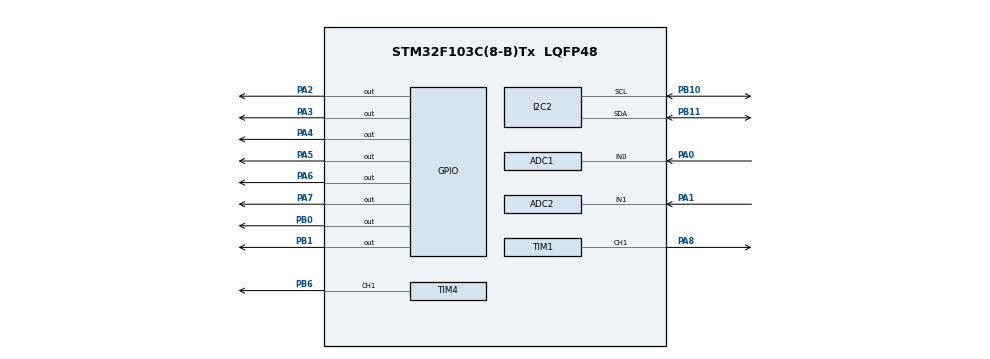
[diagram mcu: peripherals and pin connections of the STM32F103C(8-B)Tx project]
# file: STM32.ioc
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ADC1.Channel-0\#ChannelRegularConversion=ADC_CHANNEL_0
ADC1.ContinuousConvMode=DISABLE
ADC1.NbrOfConversionFlag=1
ADC1.Rank-0\#ChannelRegularConversion=1
ADC1.SamplingTime-0\#ChannelRegularConversion=ADC_SAMPLETIME_55CYCLES_5
ADC1.master=1
ADC2.Channel-0\#ChannelRegularConversion=ADC_CHANNEL_1
ADC2.NbrOfConversionFlag=1
ADC2.Rank-0\#ChannelRegularConversion=1
ADC2.SamplingTime-0\#ChannelRegularConversion=ADC_SAMPLETIME_55CYCLES_5
I2C2.I2C_Mode=I2C_Fast
I2C2.OwnAddress=0x37
Mcu.Family=STM32F1
Mcu.Name=STM32F103C(8-B)Tx
Mcu.Package=LQFP48
NVIC.ADC1_2_IRQn=true\:1\:0\:true\:false\:true\:true\:true\:true
NVIC.I2C2_ER_IRQn=true\:0\:0\:false\:false\:true\:true\:true\:true
NVIC.I2C2_EV_IRQn=true\:0\:0\:false\:false\:true\:true\:true\:true
NVIC.PriorityGroup=NVIC_PRIORITYGROUP_4
PA0-WKUP.Signal=ADCx_IN0
PA1.Signal=ADCx_IN1
PA13.Mode=Serial_Wire
PA13.Signal=SYS_JTMS-SWDIO
PA14.Mode=Serial_Wire
PA14.Signal=SYS_JTCK-SWCLK
PA2.Signal=GPIO_Output
PA3.Signal=GPIO_Output
PA4.Signal=GPIO_Output
PA5.Signal=GPIO_Output
PA6.Signal=GPIO_Output
PA7.Signal=GPIO_Output
PA8.GPIO_ModeDefaultPP=GPIO_MODE_AF_OD
PA8.GPIO_Speed=GPIO_SPEED_FREQ_LOW
PA8.Signal=S_TIM1_CH1
PB0.Signal=GPIO_Output
PB1.Signal=GPIO_Output
PB10.Mode=I2C
PB10.Signal=I2C2_SCL
PB11.Mode=I2C
PB11.Signal=I2C2_SDA
PB6.Signal=S_TIM4_CH1
ProjectManager.HeapSize=0x200
ProjectManager.StackSize=0x400
ProjectManager.TargetToolchain=STM32CubeIDE
RCC.APB1Freq_Value=8000000
RCC.APB2Freq_Value=8000000
SH.ADCx_IN0.0=ADC1_IN0,IN0
SH.ADCx_IN1.0=ADC2_IN1,IN1
SH.S_TIM1_CH1.0=TIM1_CH1,PWM Generation1 CH1
SH.S_TIM4_CH1.0=TIM4_CH1,PWM Generation1 CH1
TIM1.Channel-PWM\ Generation1\ CH1=TIM_CHANNEL_1
TIM1.OCMode_PWM-PWM\ Generation1\ CH1=TIM_OCMODE_PWM2
TIM1.OCPolarity_1=TIM_OCPOLARITY_LOW
TIM1.Period=20000
TIM1.Prescaler=7
TIM1.Pulse-PWM\ Generation1\ CH1=1
TIM2.Prescaler=7
TIM4.Channel-PWM\ Generation1\ CH1=TIM_CHANNEL_1
TIM4.Period=79
TIM4.Pulse-PWM\ Generation1\ CH1=40
VP_TIM1_VS_ClockSourceINT.Mode=Internal
VP_TIM1_VS_OPM.Mode=OPM_bit
VP_TIM2_VS_ClockSourceINT.Mode=Internal
board=custom

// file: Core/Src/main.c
/* USER CODE BEGIN Header */
/**
 ******************************************************************************
 * @file           : main.c
 * @brief          : Main program body
 ******************************************************************************
 * @attention
 *
 * Copyright (c) 2026 STMicroelectronics.
 * All rights reserved.
 *
 * This software is licensed under terms that can be found in the LICENSE file
 * in the root directory of this software component.
 * If no LICENSE file comes with this software, it is provided AS-IS.
 *
 ******************************************************************************
 */
/* USER CODE END Header */
#include "main.h"

/* USER CODE BEGIN Includes */
#include "pcb_sensor_layout.h"
#include <stdbool.h>
#include <string.h>

/* USER CODE END Includes */

/* USER CODE BEGIN PTD */
typedef enum { KICK_READY, KICK_PULSING, KICK_COOLDOWN } KickState;

/* USER CODE END PTD */

/* USER CODE BEGIN PD */
#define KICK_COOLDOWN_MS 500U

/* USER CODE END PD */

ADC_HandleTypeDef hadc1;
ADC_HandleTypeDef hadc2;

I2C_HandleTypeDef hi2c2;

TIM_HandleTypeDef htim1;
TIM_HandleTypeDef htim2;
TIM_HandleTypeDef htim4;

/* USER CODE BEGIN PV */
uint8_t brightness = 50;
uint8_t RxData = 0x00;
uint8_t TxData[PCB_SENSOR_COUNT] = {0x00};
/* ADC fills one buffer while the other holds the last complete scan. */
static uint8_t scan_buffers[2][PCB_SENSOR_COUNT] = {{0}};
static uint32_t working_scan_index = 1U;
static volatile uint32_t published_scan_index = 0U;
uint8_t multiplexer1 = PCB_SENSOR_MUX1_FIRST_PIN;
uint8_t multiplexer2 = PCB_SENSOR_MUX2_FIRST_PIN;
volatile bool multiplexer1_ready = true;
volatile bool multiplexer2_ready = true;
static volatile uint16_t last_multiplexer_us;
/* Shared between the main loop and the I2C interrupt. */
static volatile KickState kick_state = KICK_READY;
static uint32_t kick_finished_tick;
/* USER CODE END PV */

void SystemClock_Config(void);
static void MX_GPIO_Init(void);
static void MX_ADC1_Init(void);
static void MX_ADC2_Init(void);
static void MX_TIM1_Init(void);
static void MX_TIM4_Init(void);
static void MX_I2C2_Init(void);
static void MX_TIM2_Init(void);

/* USER CODE BEGIN 0 */
static void select_multiplexer1(void) {
  HAL_GPIO_WritePin(GPIOA, GPIO_PIN_2, (multiplexer1 & 1U) ? GPIO_PIN_SET : GPIO_PIN_RESET);
  HAL_GPIO_WritePin(GPIOA, GPIO_PIN_3, (multiplexer1 & 2U) ? GPIO_PIN_SET : GPIO_PIN_RESET);
  HAL_GPIO_WritePin(GPIOA, GPIO_PIN_4, (multiplexer1 & 4U) ? GPIO_PIN_SET : GPIO_PIN_RESET);
  HAL_GPIO_WritePin(GPIOA, GPIO_PIN_5, (multiplexer1 & 8U) ? GPIO_PIN_SET : GPIO_PIN_RESET);
}

static void select_multiplexer2(void) {
  HAL_GPIO_WritePin(GPIOA, GPIO_PIN_6, (multiplexer2 & 1U) ? GPIO_PIN_SET : GPIO_PIN_RESET);
  HAL_GPIO_WritePin(GPIOA, GPIO_PIN_7, (multiplexer2 & 2U) ? GPIO_PIN_SET : GPIO_PIN_RESET);
  HAL_GPIO_WritePin(GPIOB, GPIO_PIN_0, (multiplexer2 & 4U) ? GPIO_PIN_SET : GPIO_PIN_RESET);
  HAL_GPIO_WritePin(GPIOB, GPIO_PIN_1, (multiplexer2 & 8U) ? GPIO_PIN_SET : GPIO_PIN_RESET);
}

static void service_kick_cooldown(void) {
  if (kick_state == KICK_PULSING && (TIM1->CR1 & TIM_CR1_CEN) == 0U) {
    /* One-pulse mode has finished and released PA8. A delayed loop only
       lengthens the cooldown; never measure it from the pulse start. */
    kick_finished_tick = HAL_GetTick();
    kick_state = KICK_COOLDOWN;
  } else if (kick_state == KICK_COOLDOWN && (uint32_t)(HAL_GetTick() - kick_finished_tick) > KICK_COOLDOWN_MS) {
    /* Wait past 500 ticks so tick rounding cannot shorten the 500 ms gap.
       Unsigned subtraction also handles the HAL tick counter wrapping. */
    kick_state = KICK_READY;
  }
}

void HAL_I2C_ListenCpltCallback(I2C_HandleTypeDef *hi2c) {
  if (hi2c->Instance == I2C2) {
    HAL_I2C_EnableListen_IT(&hi2c2);
  }
}

void HAL_I2C_AddrCallback(I2C_HandleTypeDef *hi2c, uint8_t TransferDirection, uint16_t AddrMatchCode) {
  if (hi2c->Instance == I2C2) {
    if (TransferDirection == I2C_DIRECTION_TRANSMIT) {
      HAL_I2C_Slave_Seq_Receive_IT(&hi2c2, &RxData, 1, I2C_FIRST_AND_LAST_FRAME);
    } else {
      /* ADC must have equal or lower preemption priority than I2C.
         Snapshot into TxData before ADC can reuse either scan buffer. */
      uint32_t scan_index = published_scan_index;
      __DMB();
      memcpy(TxData, scan_buffers[scan_index], sizeof(TxData));
      HAL_I2C_Slave_Seq_Transmit_IT(&hi2c2, TxData, sizeof(TxData), I2C_FIRST_AND_LAST_FRAME);
    }
  }
}

void HAL_I2C_SlaveRxCpltCallback(I2C_HandleTypeDef *hi2c) {
  if (hi2c->Instance == I2C2) {
    if (RxData == 0xFF) {
      if (kick_state == KICK_READY && (TIM1->CR1 & TIM_CR1_CEN) == 0U) {
        kick_state = KICK_PULSING;
        __HAL_TIM_SET_COUNTER(&htim1, 1);
        __HAL_TIM_ENABLE(&htim1);
      }
    } else {
      brightness = RxData;
      TIM4->CCR1 = (80U * brightness) / 254U;
    }
  }
}

void HAL_ADC_ConvCpltCallback(ADC_HandleTypeDef *hadc) {
  if (hadc->Instance == ADC1) {
    uint32_t raw = HAL_ADC_GetValue(hadc);
    uint8_t value = (uint8_t)((raw * 255U + 2047U) / 4095U);
    scan_buffers[working_scan_index][pcb_sensor_index(1U, multiplexer1)] = value;
    multiplexer1 = (uint8_t)pcb_sensor_next_pin(1U, multiplexer1);
    select_multiplexer1();
    multiplexer1_ready = true;
  } else if (hadc->Instance == ADC2) {
    uint32_t raw = HAL_ADC_GetValue(&hadc2);
    uint8_t value = (uint8_t)((raw * 255U + 2047U) / 4095U);
    scan_buffers[working_scan_index][pcb_sensor_index(2U, multiplexer2)] = value;
    multiplexer2 = (uint8_t)pcb_sensor_next_pin(2U, multiplexer2);
    select_multiplexer2();
    multiplexer2_ready = true;
  }
  if (multiplexer1_ready && multiplexer2_ready) {
    if (multiplexer1 == PCB_SENSOR_MUX1_FIRST_PIN && multiplexer2 == PCB_SENSOR_MUX2_FIRST_PIN) {
      __DMB();
      published_scan_index = working_scan_index;
      working_scan_index ^= 1U;
    }
    last_multiplexer_us = (uint16_t)__HAL_TIM_GET_COUNTER(&htim2);
  }
}

/* USER CODE END 0 */

int main(void)
{

  /* MCU Configuration--------------------------------------------------------*/

  /* Reset of all peripherals, Initializes the Flash interface and the Systick. */
  HAL_Init();

  /* Configure the system clock */
  SystemClock_Config();

  /* Initialize all configured peripherals */
  MX_GPIO_Init();
  MX_ADC1_Init();
  MX_ADC2_Init();
  MX_TIM1_Init();
  MX_TIM4_Init();
  MX_I2C2_Init();
  MX_TIM2_Init();
  /* USER CODE BEGIN 2 */
  select_multiplexer1();
  select_multiplexer2();
  __HAL_TIM_SET_COUNTER(&htim1, 0);
  SET_BIT(TIM1->CCER, TIM_CCER_CC1E);
  __HAL_TIM_MOE_ENABLE(&htim1);
  HAL_I2C_EnableListen_IT(&hi2c2);
  HAL_TIM_PWM_Start(&htim4, TIM_CHANNEL_1);

  if (HAL_ADCEx_Calibration_Start(&hadc1) != HAL_OK) {
    Error_Handler();
  }
  if (HAL_ADCEx_Calibration_Start(&hadc2) != HAL_OK) {
    Error_Handler();
  }
  if (HAL_TIM_Base_Start(&htim2) != HAL_OK) {
    Error_Handler();
  }

  /* USER CODE END 2 */

  /* Infinite loop */
  /* USER CODE BEGIN WHILE */
  while (1) {
    service_kick_cooldown();
    if (multiplexer1_ready && multiplexer2_ready) {
      uint16_t now = (uint16_t)__HAL_TIM_GET_COUNTER(&htim2);
      uint16_t elapsed = (uint16_t)(now - last_multiplexer_us);
      // Wait 100 us after switching multiplexer before reading ADC
      if (elapsed > 100U) {
        multiplexer1_ready = false;
        multiplexer2_ready = false;
        if (HAL_ADC_Start_IT(&hadc1) != HAL_OK) {
          Error_Handler();
        }
        if (HAL_ADC_Start_IT(&hadc2) != HAL_OK) {
          Error_Handler();
        }
      }
    }
    /* USER CODE END WHILE */

  }
}

void SystemClock_Config(void)
{
  RCC_OscInitTypeDef RCC_OscInitStruct = {0};
  RCC_ClkInitTypeDef RCC_ClkInitStruct = {0};
  RCC_PeriphCLKInitTypeDef PeriphClkInit = {0};

  /** Initializes the RCC Oscillators according to the specified parameters
  * in the RCC_OscInitTypeDef structure.
  */
  RCC_OscInitStruct.OscillatorType = RCC_OSCILLATORTYPE_HSI;
  RCC_OscInitStruct.HSIState = RCC_HSI_ON;
  RCC_OscInitStruct.HSICalibrationValue = RCC_HSICALIBRATION_DEFAULT;
  RCC_OscInitStruct.PLL.PLLState = RCC_PLL_NONE;
  if (HAL_RCC_OscConfig(&RCC_OscInitStruct) != HAL_OK)
  {
    Error_Handler();
  }

  /** Initializes the CPU, AHB and APB buses clocks
  */
  RCC_ClkInitStruct.ClockType = RCC_CLOCKTYPE_HCLK|RCC_CLOCKTYPE_SYSCLK
                              |RCC_CLOCKTYPE_PCLK1|RCC_CLOCKTYPE_PCLK2;
  RCC_ClkInitStruct.SYSCLKSource = RCC_SYSCLKSOURCE_HSI;
  RCC_ClkInitStruct.AHBCLKDivider = RCC_SYSCLK_DIV1;
  RCC_ClkInitStruct.APB1CLKDivider = RCC_HCLK_DIV1;
  RCC_ClkInitStruct.APB2CLKDivider = RCC_HCLK_DIV1;

  if (HAL_RCC_ClockConfig(&RCC_ClkInitStruct, FLASH_LATENCY_0) != HAL_OK)
  {
    Error_Handler();
  }
  PeriphClkInit.PeriphClockSelection = RCC_PERIPHCLK_ADC;
  PeriphClkInit.AdcClockSelection = RCC_ADCPCLK2_DIV2;
  if (HAL_RCCEx_PeriphCLKConfig(&PeriphClkInit) != HAL_OK)
  {
    Error_Handler();
  }
}

static void MX_ADC1_Init(void)
{

  ADC_ChannelConfTypeDef sConfig = {0};

  /** Common config
  */
  hadc1.Instance = ADC1;
  hadc1.Init.ScanConvMode = ADC_SCAN_DISABLE;
  hadc1.Init.ContinuousConvMode = DISABLE;
  hadc1.Init.DiscontinuousConvMode = DISABLE;
  hadc1.Init.ExternalTrigConv = ADC_SOFTWARE_START;
  hadc1.Init.DataAlign = ADC_DATAALIGN_RIGHT;
  hadc1.Init.NbrOfConversion = 1;
  if (HAL_ADC_Init(&hadc1) != HAL_OK)
  {
    Error_Handler();
  }

  /** Configure Regular Channel
  */
  sConfig.Channel = ADC_CHANNEL_0;
  sConfig.Rank = ADC_REGULAR_RANK_1;
  sConfig.SamplingTime = ADC_SAMPLETIME_55CYCLES_5;
  if (HAL_ADC_ConfigChannel(&hadc1, &sConfig) != HAL_OK)
  {
    Error_Handler();
  }

}

static void MX_ADC2_Init(void)
{

  ADC_ChannelConfTypeDef sConfig = {0};

  /** Common config
  */
  hadc2.Instance = ADC2;
  hadc2.Init.ScanConvMode = ADC_SCAN_DISABLE;
  hadc2.Init.ContinuousConvMode = DISABLE;
  hadc2.Init.DiscontinuousConvMode = DISABLE;
  hadc2.Init.ExternalTrigConv = ADC_SOFTWARE_START;
  hadc2.Init.DataAlign = ADC_DATAALIGN_RIGHT;
  hadc2.Init.NbrOfConversion = 1;
  if (HAL_ADC_Init(&hadc2) != HAL_OK)
  {
    Error_Handler();
  }

  /** Configure Regular Channel
  */
  sConfig.Channel = ADC_CHANNEL_1;
  sConfig.Rank = ADC_REGULAR_RANK_1;
  sConfig.SamplingTime = ADC_SAMPLETIME_55CYCLES_5;
  if (HAL_ADC_ConfigChannel(&hadc2, &sConfig) != HAL_OK)
  {
    Error_Handler();
  }

}

static void MX_I2C2_Init(void)
{

  hi2c2.Instance = I2C2;
  hi2c2.Init.ClockSpeed = 400000;
  hi2c2.Init.DutyCycle = I2C_DUTYCYCLE_2;
  hi2c2.Init.OwnAddress1 = 110;
  hi2c2.Init.AddressingMode = I2C_ADDRESSINGMODE_7BIT;
  hi2c2.Init.DualAddressMode = I2C_DUALADDRESS_DISABLE;
  hi2c2.Init.OwnAddress2 = 0;
  hi2c2.Init.GeneralCallMode = I2C_GENERALCALL_DISABLE;
  hi2c2.Init.NoStretchMode = I2C_NOSTRETCH_DISABLE;
  if (HAL_I2C_Init(&hi2c2) != HAL_OK)
  {
    Error_Handler();
  }

}

static void MX_TIM1_Init(void)
{

  TIM_ClockConfigTypeDef sClockSourceConfig = {0};
  TIM_MasterConfigTypeDef sMasterConfig = {0};
  TIM_OC_InitTypeDef sConfigOC = {0};
  TIM_BreakDeadTimeConfigTypeDef sBreakDeadTimeConfig = {0};

  htim1.Instance = TIM1;
  htim1.Init.Prescaler = 7;
  htim1.Init.CounterMode = TIM_COUNTERMODE_UP;
  htim1.Init.Period = 20000;
  htim1.Init.ClockDivision = TIM_CLOCKDIVISION_DIV1;
  htim1.Init.RepetitionCounter = 0;
  htim1.Init.AutoReloadPreload = TIM_AUTORELOAD_PRELOAD_DISABLE;
  if (HAL_TIM_Base_Init(&htim1) != HAL_OK)
  {
    Error_Handler();
  }
  sClockSourceConfig.ClockSource = TIM_CLOCKSOURCE_INTERNAL;
  if (HAL_TIM_ConfigClockSource(&htim1, &sClockSourceConfig) != HAL_OK)
  {
    Error_Handler();
  }
  if (HAL_TIM_PWM_Init(&htim1) != HAL_OK)
  {
    Error_Handler();
  }
  if (HAL_TIM_OnePulse_Init(&htim1, TIM_OPMODE_SINGLE) != HAL_OK)
  {
    Error_Handler();
  }
  sMasterConfig.MasterOutputTrigger = TIM_TRGO_RESET;
  sMasterConfig.MasterSlaveMode = TIM_MASTERSLAVEMODE_DISABLE;
  if (HAL_TIMEx_MasterConfigSynchronization(&htim1, &sMasterConfig) != HAL_OK)
  {
    Error_Handler();
  }
  sConfigOC.OCMode = TIM_OCMODE_PWM2;
  sConfigOC.Pulse = 1;
  sConfigOC.OCPolarity = TIM_OCPOLARITY_LOW;
  sConfigOC.OCNPolarity = TIM_OCNPOLARITY_HIGH;
  sConfigOC.OCFastMode = TIM_OCFAST_DISABLE;
  sConfigOC.OCIdleState = TIM_OCIDLESTATE_RESET;
  sConfigOC.OCNIdleState = TIM_OCNIDLESTATE_RESET;
  if (HAL_TIM_PWM_ConfigChannel(&htim1, &sConfigOC, TIM_CHANNEL_1) != HAL_OK)
  {
    Error_Handler();
  }
  sBreakDeadTimeConfig.OffStateRunMode = TIM_OSSR_DISABLE;
  sBreakDeadTimeConfig.OffStateIDLEMode = TIM_OSSI_DISABLE;
  sBreakDeadTimeConfig.LockLevel = TIM_LOCKLEVEL_OFF;
  sBreakDeadTimeConfig.DeadTime = 0;
  sBreakDeadTimeConfig.BreakState = TIM_BREAK_DISABLE;
  sBreakDeadTimeConfig.BreakPolarity = TIM_BREAKPOLARITY_HIGH;
  sBreakDeadTimeConfig.AutomaticOutput = TIM_AUTOMATICOUTPUT_DISABLE;
  if (HAL_TIMEx_ConfigBreakDeadTime(&htim1, &sBreakDeadTimeConfig) != HAL_OK)
  {
    Error_Handler();
  }
  HAL_TIM_MspPostInit(&htim1);

}

static void MX_TIM2_Init(void)
{

  TIM_ClockConfigTypeDef sClockSourceConfig = {0};
  TIM_MasterConfigTypeDef sMasterConfig = {0};

  htim2.Instance = TIM2;
  htim2.Init.Prescaler = 7;
  htim2.Init.CounterMode = TIM_COUNTERMODE_UP;
  htim2.Init.Period = 65535;
  htim2.Init.ClockDivision = TIM_CLOCKDIVISION_DIV1;
  htim2.Init.AutoReloadPreload = TIM_AUTORELOAD_PRELOAD_DISABLE;
  if (HAL_TIM_Base_Init(&htim2) != HAL_OK)
  {
    Error_Handler();
  }
  sClockSourceConfig.ClockSource = TIM_CLOCKSOURCE_INTERNAL;
  if (HAL_TIM_ConfigClockSource(&htim2, &sClockSourceConfig) != HAL_OK)
  {
    Error_Handler();
  }
  sMasterConfig.MasterOutputTrigger = TIM_TRGO_RESET;
  sMasterConfig.MasterSlaveMode = TIM_MASTERSLAVEMODE_DISABLE;
  if (HAL_TIMEx_MasterConfigSynchronization(&htim2, &sMasterConfig) != HAL_OK)
  {
    Error_Handler();
  }

}

static void MX_TIM4_Init(void)
{

  TIM_MasterConfigTypeDef sMasterConfig = {0};
  TIM_OC_InitTypeDef sConfigOC = {0};

  htim4.Instance = TIM4;
  htim4.Init.Prescaler = 0;
  htim4.Init.CounterMode = TIM_COUNTERMODE_UP;
  htim4.Init.Period = 79;
  htim4.Init.ClockDivision = TIM_CLOCKDIVISION_DIV1;
  htim4.Init.AutoReloadPreload = TIM_AUTORELOAD_PRELOAD_DISABLE;
  if (HAL_TIM_PWM_Init(&htim4) != HAL_OK)
  {
    Error_Handler();
  }
  sMasterConfig.MasterOutputTrigger = TIM_TRGO_RESET;
  sMasterConfig.MasterSlaveMode = TIM_MASTERSLAVEMODE_DISABLE;
  if (HAL_TIMEx_MasterConfigSynchronization(&htim4, &sMasterConfig) != HAL_OK)
  {
    Error_Handler();
  }
  sConfigOC.OCMode = TIM_OCMODE_PWM1;
  sConfigOC.Pulse = 40;
  sConfigOC.OCPolarity = TIM_OCPOLARITY_HIGH;
  sConfigOC.OCFastMode = TIM_OCFAST_DISABLE;
  if (HAL_TIM_PWM_ConfigChannel(&htim4, &sConfigOC, TIM_CHANNEL_1) != HAL_OK)
  {
    Error_Handler();
  }
  HAL_TIM_MspPostInit(&htim4);

}

static void MX_GPIO_Init(void)
{
  GPIO_InitTypeDef GPIO_InitStruct = {0};

  /* GPIO Ports Clock Enable */
  __HAL_RCC_GPIOC_CLK_ENABLE();
  __HAL_RCC_GPIOD_CLK_ENABLE();
  __HAL_RCC_GPIOA_CLK_ENABLE();
  __HAL_RCC_GPIOB_CLK_ENABLE();

  /*Configure GPIO pin Output Level */
  HAL_GPIO_WritePin(GPIOA, GPIO_PIN_2|GPIO_PIN_3|GPIO_PIN_4|GPIO_PIN_5
                          |GPIO_PIN_6|GPIO_PIN_7, GPIO_PIN_RESET);

  /*Configure GPIO pin Output Level */
  HAL_GPIO_WritePin(GPIOB, GPIO_PIN_0|GPIO_PIN_1, GPIO_PIN_RESET);

  /*Configure GPIO pins : PC13 PC14 PC15 */
  GPIO_InitStruct.Pin = GPIO_PIN_13|GPIO_PIN_14|GPIO_PIN_15;
  GPIO_InitStruct.Mode = GPIO_MODE_ANALOG;
  HAL_GPIO_Init(GPIOC, &GPIO_InitStruct);

  /*Configure GPIO pins : PD0 PD1 */
  GPIO_InitStruct.Pin = GPIO_PIN_0|GPIO_PIN_1;
  GPIO_InitStruct.Mode = GPIO_MODE_ANALOG;
  HAL_GPIO_Init(GPIOD, &GPIO_InitStruct);

  /*Configure GPIO pins : PA2 PA3 PA4 PA5
                           PA6 PA7 */
  GPIO_InitStruct.Pin = GPIO_PIN_2|GPIO_PIN_3|GPIO_PIN_4|GPIO_PIN_5
                          |GPIO_PIN_6|GPIO_PIN_7;
  GPIO_InitStruct.Mode = GPIO_MODE_OUTPUT_PP;
  GPIO_InitStruct.Pull = GPIO_NOPULL;
  GPIO_InitStruct.Speed = GPIO_SPEED_FREQ_LOW;
  HAL_GPIO_Init(GPIOA, &GPIO_InitStruct);

  /*Configure GPIO pins : PB0 PB1 */
  GPIO_InitStruct.Pin = GPIO_PIN_0|GPIO_PIN_1;
  GPIO_InitStruct.Mode = GPIO_MODE_OUTPUT_PP;
  GPIO_InitStruct.Pull = GPIO_NOPULL;
  GPIO_InitStruct.Speed = GPIO_SPEED_FREQ_LOW;
  HAL_GPIO_Init(GPIOB, &GPIO_InitStruct);

  /*Configure GPIO pins : PB2 PB12 PB13 PB14
                           PB15 PB3 PB4 PB5
                           PB7 PB8 PB9 */
  GPIO_InitStruct.Pin = GPIO_PIN_2|GPIO_PIN_12|GPIO_PIN_13|GPIO_PIN_14
                          |GPIO_PIN_15|GPIO_PIN_3|GPIO_PIN_4|GPIO_PIN_5
                          |GPIO_PIN_7|GPIO_PIN_8|GPIO_PIN_9;
  GPIO_InitStruct.Mode = GPIO_MODE_ANALOG;
  HAL_GPIO_Init(GPIOB, &GPIO_InitStruct);

  /*Configure GPIO pins : PA9 PA10 PA11 PA12
                           PA15 */
  GPIO_InitStruct.Pin = GPIO_PIN_9|GPIO_PIN_10|GPIO_PIN_11|GPIO_PIN_12
                          |GPIO_PIN_15;
  GPIO_InitStruct.Mode = GPIO_MODE_ANALOG;
  HAL_GPIO_Init(GPIOA, &GPIO_InitStruct);

  /*Configure peripheral I/O remapping */
  __HAL_AFIO_REMAP_PD01_ENABLE();

}

void Error_Handler(void)
{
  __disable_irq();
  while (1) {
  }
}
#ifdef USE_FULL_ASSERT
/**
  * @brief  Reports the name of the source file and the source line number
  *         where the assert_param error has occurred.
  * @param  file: pointer to the source file name
  * @param  line: assert_param error line source number
  * @retval None
  */
void assert_failed(uint8_t *file, uint32_t line)
{
  /* USER CODE BEGIN 6 */
  /* User can add his own implementation to report the file name and line
     number, ex: printf("Wrong parameters value: file %s on line %d\r\n", file,
     line) */
  /* USER CODE END 6 */
}
#endif /* USE_FULL_ASSERT */
